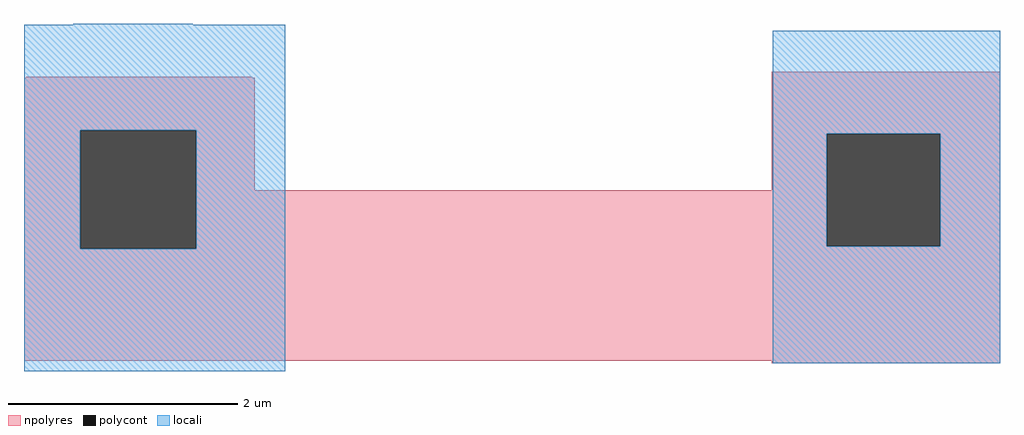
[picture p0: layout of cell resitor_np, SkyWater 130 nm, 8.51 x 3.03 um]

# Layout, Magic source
magic
tech sky130A
<< polycont >>
rect -3 -52 98 51
rect 648 -50 747 48
<< npolyres >>
rect -50 97 147 98
rect -52 51 149 97
rect -52 -52 -3 51
rect 98 -1 149 51
rect 600 48 799 102
rect 600 -1 648 48
rect 98 -50 648 -1
rect 747 -50 799 48
rect 98 -52 799 -50
rect -52 -150 799 -52
rect 600 -152 799 -150
<< locali >>
rect -9 143 95 144
rect -52 51 176 143
rect -52 -52 -3 51
rect 98 -52 176 51
rect -52 -159 176 -52
rect 601 48 799 138
rect 601 -50 648 48
rect 747 -50 799 48
rect 601 -152 799 -50
<< end >>
